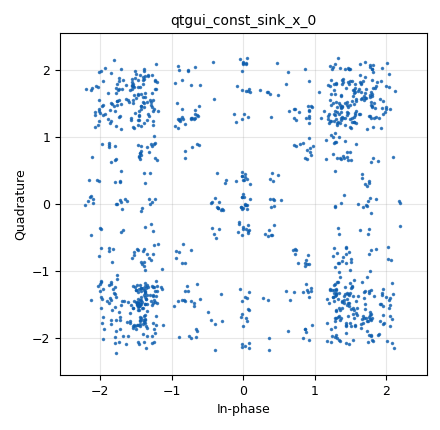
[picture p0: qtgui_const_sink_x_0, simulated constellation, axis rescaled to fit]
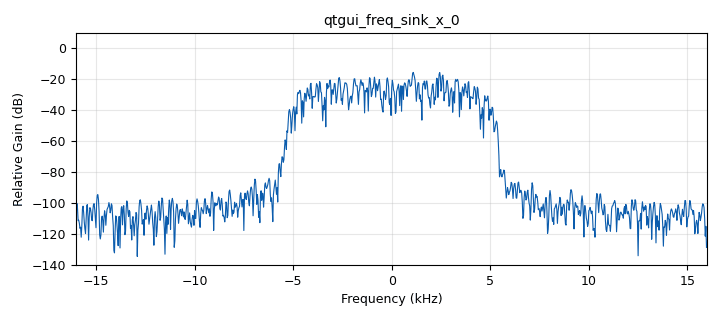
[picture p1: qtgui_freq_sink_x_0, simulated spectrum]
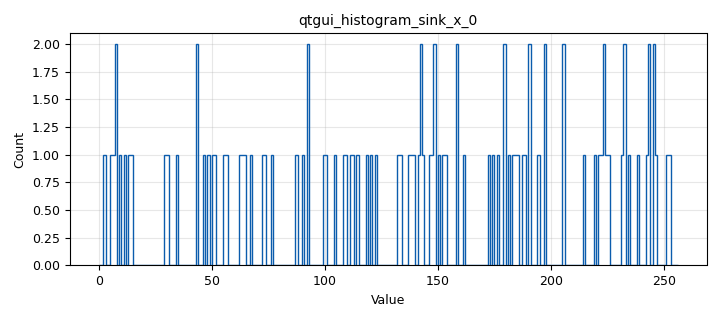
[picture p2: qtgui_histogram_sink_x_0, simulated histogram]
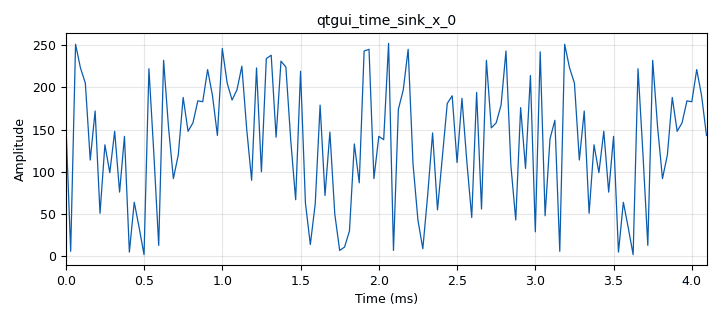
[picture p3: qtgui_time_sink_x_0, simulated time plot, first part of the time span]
options:
  parameters:
    generate_options: qt_gui
    id: psk_sim
    output_language: python
    title: Not titled yet
  states: {}

blocks:
- name: const
  id: variable_constellation
  parameters:
    precision: '8'
    type: qpsk
  states: {}
- name: samp_rate
  id: variable
  parameters:
    value: '32000'
  states: {}
- name: sps
  id: variable
  parameters:
    value: '4'
  states: {}
- name: analog_random_source_x_0
  id: analog_random_source_x
  parameters:
    max: '256'
    min: '0'
    num_samps: '100'
    repeat: 'True'
    type: byte
  states: {}
- name: blocks_throttle_0
  id: blocks_throttle
  parameters:
    samples_per_second: samp_rate
    type: byte
  states: {}
- name: blocks_throttle_0_0
  id: blocks_throttle
  parameters:
    samples_per_second: samp_rate
    type: complex
  states: {}
- name: blocks_uchar_to_float_0
  id: blocks_uchar_to_float
  parameters: {}
  states: {}
- name: digital_constellation_modulator_0
  id: digital_constellation_modulator
  parameters:
    constellation: const
    differential: 'True'
    excess_bw: '0.35'
    samples_per_symbol: sps
  states: {}
- name: qtgui_const_sink_x_0
  id: qtgui_const_sink_x
  parameters:
    size: '1024'
    type: complex
  states: {}
- name: qtgui_freq_sink_x_0
  id: qtgui_freq_sink_x
  parameters:
    bw: samp_rate
    fc: '0'
    fftsize: '1024'
    type: complex
  states: {}
- name: qtgui_histogram_sink_x_0
  id: qtgui_histogram_sink_x
  parameters:
    bins: '256'
    size: '100'
    type: float
    xmax: '256'
    xmin: '0'
  states: {}
- name: qtgui_time_sink_x_0
  id: qtgui_time_sink_x
  parameters:
    autoscale: 'True'
    size: '1024'
    srate: samp_rate
    type: float
  states: {}

connections:
- [analog_random_source_x_0, '0', blocks_throttle_0, '0']
- [analog_random_source_x_0, '0', digital_constellation_modulator_0, '0']
- [blocks_throttle_0, '0', blocks_uchar_to_float_0, '0']
- [blocks_throttle_0_0, '0', qtgui_const_sink_x_0, '0']
- [blocks_throttle_0_0, '0', qtgui_freq_sink_x_0, '0']
- [blocks_uchar_to_float_0, '0', qtgui_histogram_sink_x_0, '0']
- [blocks_uchar_to_float_0, '0', qtgui_time_sink_x_0, '0']
- [digital_constellation_modulator_0, '0', blocks_throttle_0_0, '0']

metadata:
  file_format: 1
